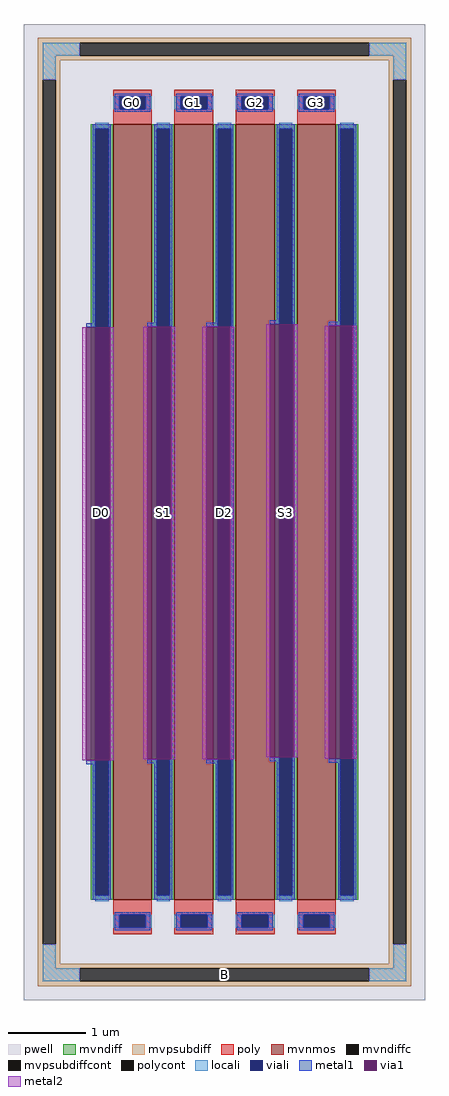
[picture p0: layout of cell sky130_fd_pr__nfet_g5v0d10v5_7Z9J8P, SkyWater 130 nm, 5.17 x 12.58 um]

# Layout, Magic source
magic
tech sky130A
magscale 1 2
<< pwell >>
rect -517 -1258 517 1258
<< mvnmos >>
rect -287 -1000 -187 1000
rect -129 -1000 -29 1000
rect 29 -1000 129 1000
rect 187 -1000 287 1000
<< mvndiff >>
rect -345 988 -287 1000
rect -345 -988 -333 988
rect -299 -988 -287 988
rect -345 -1000 -287 -988
rect -187 988 -129 1000
rect -187 -988 -175 988
rect -141 -988 -129 988
rect -187 -1000 -129 -988
rect -29 988 29 1000
rect -29 -988 -17 988
rect 17 -988 29 988
rect -29 -1000 29 -988
rect 129 988 187 1000
rect 129 -988 141 988
rect 175 -988 187 988
rect 129 -1000 187 -988
rect 287 988 345 1000
rect 287 -988 299 988
rect 333 -988 345 988
rect 287 -1000 345 -988
<< mvndiffc >>
rect -333 -988 -299 988
rect -175 -988 -141 988
rect -17 -988 17 988
rect 141 -988 175 988
rect 299 -988 333 988
<< mvpsubdiff >>
rect -481 1210 481 1222
rect -481 1176 -373 1210
rect 373 1176 481 1210
rect -481 1164 481 1176
rect -481 1114 -423 1164
rect -481 -1114 -469 1114
rect -435 -1114 -423 1114
rect 423 1114 481 1164
rect -481 -1164 -423 -1114
rect 423 -1114 435 1114
rect 469 -1114 481 1114
rect 423 -1164 481 -1114
rect -481 -1176 481 -1164
rect -481 -1210 -373 -1176
rect 373 -1210 481 -1176
rect -481 -1222 481 -1210
<< mvpsubdiffcont >>
rect -373 1176 373 1210
rect -469 -1114 -435 1114
rect 435 -1114 469 1114
rect -373 -1210 373 -1176
<< poly >>
rect -287 1072 -187 1088
rect -287 1038 -271 1072
rect -203 1038 -187 1072
rect -287 1000 -187 1038
rect -129 1072 -29 1088
rect -129 1038 -113 1072
rect -45 1038 -29 1072
rect -129 1000 -29 1038
rect 29 1072 129 1088
rect 29 1038 45 1072
rect 113 1038 129 1072
rect 29 1000 129 1038
rect 187 1072 287 1088
rect 187 1038 203 1072
rect 271 1038 287 1072
rect 187 1000 287 1038
rect -287 -1038 -187 -1000
rect -287 -1072 -271 -1038
rect -203 -1072 -187 -1038
rect -287 -1088 -187 -1072
rect -129 -1038 -29 -1000
rect -129 -1072 -113 -1038
rect -45 -1072 -29 -1038
rect -129 -1088 -29 -1072
rect 29 -1038 129 -1000
rect 29 -1072 45 -1038
rect 113 -1072 129 -1038
rect 29 -1088 129 -1072
rect 187 -1038 287 -1000
rect 187 -1072 203 -1038
rect 271 -1072 287 -1038
rect 187 -1088 287 -1072
<< polycont >>
rect -271 1038 -203 1072
rect -113 1038 -45 1072
rect 45 1038 113 1072
rect 203 1038 271 1072
rect -271 -1072 -203 -1038
rect -113 -1072 -45 -1038
rect 45 -1072 113 -1038
rect 203 -1072 271 -1038
<< locali >>
rect -469 1176 -373 1210
rect 373 1176 469 1210
rect -469 1114 -435 1176
rect 435 1114 469 1176
rect -287 1038 -271 1072
rect -203 1038 -187 1072
rect -129 1038 -113 1072
rect -45 1038 -29 1072
rect 29 1038 45 1072
rect 113 1038 129 1072
rect 187 1038 203 1072
rect 271 1038 287 1072
rect -333 988 -299 1004
rect -333 -1004 -299 -988
rect -175 988 -141 1004
rect -175 -1004 -141 -988
rect -17 988 17 1004
rect -17 -1004 17 -988
rect 141 988 175 1004
rect 141 -1004 175 -988
rect 299 988 333 1004
rect 299 -1004 333 -988
rect -287 -1072 -271 -1038
rect -203 -1072 -187 -1038
rect -129 -1072 -113 -1038
rect -45 -1072 -29 -1038
rect 29 -1072 45 -1038
rect 113 -1072 129 -1038
rect 187 -1072 203 -1038
rect 271 -1072 287 -1038
rect -469 -1176 -435 -1114
rect 435 -1176 469 -1114
rect -469 -1210 -373 -1176
rect 373 -1210 469 -1176
<< viali >>
rect -271 1038 -203 1072
rect -113 1038 -45 1072
rect 45 1038 113 1072
rect 203 1038 271 1072
rect -333 -988 -299 988
rect -175 -988 -141 988
rect -17 -988 17 988
rect 141 -988 175 988
rect 299 -988 333 988
rect -271 -1072 -203 -1038
rect -113 -1072 -45 -1038
rect 45 -1072 113 -1038
rect 203 -1072 271 -1038
<< metal1 >>
rect -283 1072 -191 1078
rect -283 1038 -271 1072
rect -203 1038 -191 1072
rect -283 1032 -191 1038
rect -125 1072 -33 1078
rect -125 1038 -113 1072
rect -45 1038 -33 1072
rect -125 1032 -33 1038
rect 33 1072 125 1078
rect 33 1038 45 1072
rect 113 1038 125 1072
rect 33 1032 125 1038
rect 191 1072 283 1078
rect 191 1038 203 1072
rect 271 1038 283 1072
rect 191 1032 283 1038
rect -339 988 -293 1000
rect -339 486 -333 988
rect -357 476 -333 486
rect -299 476 -293 988
rect -181 988 -135 1000
rect -181 488 -175 988
rect -295 -640 -293 476
rect -357 -650 -333 -640
rect -339 -988 -333 -650
rect -299 -988 -293 -640
rect -199 478 -175 488
rect -141 478 -135 988
rect -23 988 23 1000
rect -23 488 -17 988
rect -137 -638 -135 478
rect -199 -648 -175 -638
rect -339 -1000 -293 -988
rect -181 -988 -175 -648
rect -141 -988 -135 -638
rect -47 478 -17 488
rect -47 -648 -17 -638
rect -181 -1000 -135 -988
rect -23 -988 -17 -648
rect 17 -988 23 988
rect 135 988 181 1000
rect 135 494 141 988
rect 117 484 141 494
rect 175 484 181 988
rect 293 988 339 1000
rect 293 490 299 988
rect 179 -632 181 484
rect 117 -642 141 -632
rect -23 -1000 23 -988
rect 135 -988 141 -642
rect 175 -988 181 -632
rect 269 480 299 490
rect 269 -646 299 -636
rect 135 -1000 181 -988
rect 293 -988 299 -646
rect 333 -988 339 988
rect 293 -1000 339 -988
rect -283 -1038 -191 -1032
rect -283 -1072 -271 -1038
rect -203 -1072 -191 -1038
rect -283 -1078 -191 -1072
rect -125 -1038 -33 -1032
rect -125 -1072 -113 -1038
rect -45 -1072 -33 -1038
rect -125 -1078 -33 -1072
rect 33 -1038 125 -1032
rect 33 -1072 45 -1038
rect 113 -1072 125 -1038
rect 33 -1078 125 -1072
rect 191 -1038 283 -1032
rect 191 -1072 203 -1038
rect 271 -1072 283 -1038
rect 191 -1078 283 -1072
<< via1 >>
rect -357 -640 -333 476
rect -333 -640 -299 476
rect -299 -640 -295 476
rect -199 -638 -175 478
rect -175 -638 -141 478
rect -141 -638 -137 478
rect -47 -638 -17 478
rect -17 -638 15 478
rect 117 -632 141 484
rect 141 -632 175 484
rect 175 -632 179 484
rect 269 -636 299 480
rect 299 -636 331 480
<< metal2 >>
rect -367 -640 -357 476
rect -295 -640 -285 476
rect -209 -638 -199 478
rect -137 -638 -127 478
rect -57 -638 -47 478
rect 15 -638 25 478
rect 107 -632 117 484
rect 179 -632 189 484
rect 259 -636 269 480
rect 331 -636 341 480
<< labels >>
rlabel mvpsubdiffcont 0 -1193 0 -1193 0 B
port 1 nsew
rlabel mvndiffc -316 0 -316 0 0 D0
port 2 nsew
rlabel polycont -237 1055 -237 1055 0 G0
port 3 nsew
rlabel mvndiffc -158 0 -158 0 0 S1
port 4 nsew
rlabel polycont -79 1055 -79 1055 0 G1
port 5 nsew
rlabel mvndiffc 0 0 0 0 0 D2
port 6 nsew
rlabel polycont 79 1055 79 1055 0 G2
port 7 nsew
rlabel mvndiffc 158 0 158 0 0 S3
port 8 nsew
rlabel polycont 237 1055 237 1055 0 G3
port 9 nsew
<< properties >>
string FIXED_BBOX -452 -1193 452 1193
string gencell sky130_fd_pr__nfet_g5v0d10v5
string library sky130
string parameters w 10 l .5 m 1 nf 4 diffcov 100 polycov 100 guard 1 glc 1 grc 1 gtc 1 gbc 1 tbcov 100 rlcov 100 topc 1 botc 1 poverlap 0 doverlap 1 lmin 0.50 wmin 0.42 class mosfet compatible {sky130_fd_pr__nfet_01v8 sky130_fd_pr__nfet_01v8_lvt  sky130_fd_bs_flash__special_sonosfet_star  sky130_fd_pr__nfet_g5v0d10v5 sky130_fd_pr__nfet_05v0_nvt  sky130_fd_pr__nfet_03v3_nvt} full_metal 1 conn_gates 0 viasrc 100 viadrn 100 viagate 100 viagb 0 viagr 0 viagl 0 viagt 0 doports 1
<< end >>
